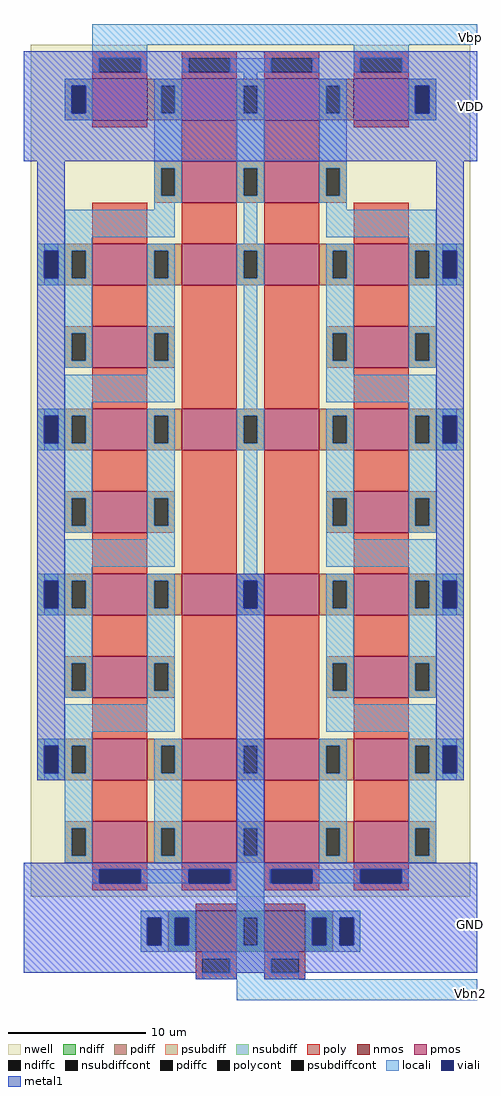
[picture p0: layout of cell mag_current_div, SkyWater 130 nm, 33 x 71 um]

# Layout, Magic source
magic
tech sky130A
<< nwell >>
rect -3300 750 -100 6950
<< nmos >>
rect -2100 350 -1800 650
rect -1600 350 -1300 650
<< pmos >>
rect -2850 6400 -2450 6700
rect -2200 6400 -1800 6700
rect -1600 6400 -1200 6700
rect -950 6400 -550 6700
rect -2200 5800 -1800 6100
rect -1600 5800 -1200 6100
rect -2850 5200 -2450 5500
rect -2200 5200 -1800 5500
rect -1600 5200 -1200 5500
rect -950 5200 -550 5500
rect -2850 4600 -2450 4900
rect -950 4600 -550 4900
rect -2850 4000 -2450 4300
rect -2200 4000 -1800 4300
rect -1600 4000 -1200 4300
rect -950 4000 -550 4300
rect -2850 3400 -2450 3700
rect -950 3400 -550 3700
rect -2850 2800 -2450 3100
rect -2200 2800 -1800 3100
rect -1600 2800 -1200 3100
rect -950 2800 -550 3100
rect -2850 2200 -2450 2500
rect -950 2200 -550 2500
rect -2850 1600 -2450 1900
rect -2200 1600 -1800 1900
rect -1600 1600 -1200 1900
rect -950 1600 -550 1900
rect -2850 1000 -2450 1300
rect -2200 1000 -1800 1300
rect -1600 1000 -1200 1300
rect -950 1000 -550 1300
<< ndiff >>
rect -2300 600 -2100 650
rect -2300 400 -2250 600
rect -2150 400 -2100 600
rect -2300 350 -2100 400
rect -1800 600 -1600 650
rect -1800 400 -1750 600
rect -1650 400 -1600 600
rect -1800 350 -1600 400
rect -1300 600 -1100 650
rect -1300 400 -1250 600
rect -1150 400 -1100 600
rect -1300 350 -1100 400
<< pdiff >>
rect -3050 6650 -2850 6700
rect -3050 6450 -3000 6650
rect -2900 6450 -2850 6650
rect -3050 6400 -2850 6450
rect -2450 6650 -2200 6700
rect -2450 6450 -2350 6650
rect -2250 6450 -2200 6650
rect -2450 6400 -2200 6450
rect -1800 6650 -1600 6700
rect -1800 6450 -1750 6650
rect -1650 6450 -1600 6650
rect -1800 6400 -1600 6450
rect -1200 6650 -950 6700
rect -1200 6450 -1150 6650
rect -1050 6450 -950 6650
rect -1200 6400 -950 6450
rect -550 6650 -350 6700
rect -550 6450 -500 6650
rect -400 6450 -350 6650
rect -550 6400 -350 6450
rect -2400 6050 -2200 6100
rect -2400 5850 -2350 6050
rect -2250 5850 -2200 6050
rect -2400 5800 -2200 5850
rect -1800 6050 -1600 6100
rect -1800 5850 -1750 6050
rect -1650 5850 -1600 6050
rect -1800 5800 -1600 5850
rect -1200 6050 -1000 6100
rect -1200 5850 -1150 6050
rect -1050 5850 -1000 6050
rect -1200 5800 -1000 5850
rect -3050 5450 -2850 5500
rect -3050 5250 -3000 5450
rect -2900 5250 -2850 5450
rect -3050 5200 -2850 5250
rect -2450 5450 -2200 5500
rect -2450 5250 -2400 5450
rect -2300 5250 -2200 5450
rect -2450 5200 -2200 5250
rect -1800 5450 -1600 5500
rect -1800 5250 -1750 5450
rect -1650 5250 -1600 5450
rect -1800 5200 -1600 5250
rect -1200 5450 -950 5500
rect -1200 5250 -1100 5450
rect -1000 5250 -950 5450
rect -1200 5200 -950 5250
rect -550 5450 -350 5500
rect -550 5250 -500 5450
rect -400 5250 -350 5450
rect -550 5200 -350 5250
rect -3050 4850 -2850 4900
rect -3050 4650 -3000 4850
rect -2900 4650 -2850 4850
rect -3050 4600 -2850 4650
rect -2450 4850 -2250 4900
rect -2450 4650 -2400 4850
rect -2300 4650 -2250 4850
rect -2450 4600 -2250 4650
rect -1150 4850 -950 4900
rect -1150 4650 -1100 4850
rect -1000 4650 -950 4850
rect -1150 4600 -950 4650
rect -550 4850 -350 4900
rect -550 4650 -500 4850
rect -400 4650 -350 4850
rect -550 4600 -350 4650
rect -3050 4250 -2850 4300
rect -3050 4050 -3000 4250
rect -2900 4050 -2850 4250
rect -3050 4000 -2850 4050
rect -2450 4250 -2200 4300
rect -2450 4050 -2400 4250
rect -2300 4050 -2200 4250
rect -2450 4000 -2200 4050
rect -1800 4250 -1600 4300
rect -1800 4050 -1750 4250
rect -1650 4050 -1600 4250
rect -1800 4000 -1600 4050
rect -1200 4250 -950 4300
rect -1200 4050 -1100 4250
rect -1000 4050 -950 4250
rect -1200 4000 -950 4050
rect -550 4250 -350 4300
rect -550 4050 -500 4250
rect -400 4050 -350 4250
rect -550 4000 -350 4050
rect -3050 3650 -2850 3700
rect -3050 3450 -3000 3650
rect -2900 3450 -2850 3650
rect -3050 3400 -2850 3450
rect -2450 3650 -2250 3700
rect -2450 3450 -2400 3650
rect -2300 3450 -2250 3650
rect -2450 3400 -2250 3450
rect -1150 3650 -950 3700
rect -1150 3450 -1100 3650
rect -1000 3450 -950 3650
rect -1150 3400 -950 3450
rect -550 3650 -350 3700
rect -550 3450 -500 3650
rect -400 3450 -350 3650
rect -550 3400 -350 3450
rect -3050 3050 -2850 3100
rect -3050 2850 -3000 3050
rect -2900 2850 -2850 3050
rect -3050 2800 -2850 2850
rect -2450 3050 -2200 3100
rect -2450 2850 -2400 3050
rect -2300 2850 -2200 3050
rect -2450 2800 -2200 2850
rect -1800 3050 -1600 3100
rect -1800 2850 -1750 3050
rect -1650 2850 -1600 3050
rect -1800 2800 -1600 2850
rect -1200 3050 -950 3100
rect -1200 2850 -1100 3050
rect -1000 2850 -950 3050
rect -1200 2800 -950 2850
rect -550 3050 -350 3100
rect -550 2850 -500 3050
rect -400 2850 -350 3050
rect -550 2800 -350 2850
rect -3050 2450 -2850 2500
rect -3050 2250 -3000 2450
rect -2900 2250 -2850 2450
rect -3050 2200 -2850 2250
rect -2450 2450 -2250 2500
rect -2450 2250 -2400 2450
rect -2300 2250 -2250 2450
rect -2450 2200 -2250 2250
rect -1150 2450 -950 2500
rect -1150 2250 -1100 2450
rect -1000 2250 -950 2450
rect -1150 2200 -950 2250
rect -550 2450 -350 2500
rect -550 2250 -500 2450
rect -400 2250 -350 2450
rect -550 2200 -350 2250
rect -3050 1850 -2850 1900
rect -3050 1650 -3000 1850
rect -2900 1650 -2850 1850
rect -3050 1600 -2850 1650
rect -2450 1850 -2200 1900
rect -2450 1650 -2350 1850
rect -2250 1650 -2200 1850
rect -2450 1600 -2200 1650
rect -1800 1850 -1600 1900
rect -1800 1650 -1750 1850
rect -1650 1650 -1600 1850
rect -1800 1600 -1600 1650
rect -1200 1850 -950 1900
rect -1200 1650 -1150 1850
rect -1050 1650 -950 1850
rect -1200 1600 -950 1650
rect -550 1850 -350 1900
rect -550 1650 -500 1850
rect -400 1650 -350 1850
rect -550 1600 -350 1650
rect -3050 1250 -2850 1300
rect -3050 1050 -3000 1250
rect -2900 1050 -2850 1250
rect -3050 1000 -2850 1050
rect -2450 1250 -2200 1300
rect -2450 1050 -2350 1250
rect -2250 1050 -2200 1250
rect -2450 1000 -2200 1050
rect -1800 1250 -1600 1300
rect -1800 1050 -1750 1250
rect -1650 1050 -1600 1250
rect -1800 1000 -1600 1050
rect -1200 1250 -950 1300
rect -1200 1050 -1150 1250
rect -1050 1050 -950 1250
rect -1200 1000 -950 1050
rect -550 1250 -350 1300
rect -550 1050 -500 1250
rect -400 1050 -350 1250
rect -550 1000 -350 1050
<< ndiffc >>
rect -2250 400 -2150 600
rect -1750 400 -1650 600
rect -1250 400 -1150 600
<< pdiffc >>
rect -3000 6450 -2900 6650
rect -2350 6450 -2250 6650
rect -1750 6450 -1650 6650
rect -1150 6450 -1050 6650
rect -500 6450 -400 6650
rect -2350 5850 -2250 6050
rect -1750 5850 -1650 6050
rect -1150 5850 -1050 6050
rect -3000 5250 -2900 5450
rect -2400 5250 -2300 5450
rect -1750 5250 -1650 5450
rect -1100 5250 -1000 5450
rect -500 5250 -400 5450
rect -3000 4650 -2900 4850
rect -2400 4650 -2300 4850
rect -1100 4650 -1000 4850
rect -500 4650 -400 4850
rect -3000 4050 -2900 4250
rect -2400 4050 -2300 4250
rect -1750 4050 -1650 4250
rect -1100 4050 -1000 4250
rect -500 4050 -400 4250
rect -3000 3450 -2900 3650
rect -2400 3450 -2300 3650
rect -1100 3450 -1000 3650
rect -500 3450 -400 3650
rect -3000 2850 -2900 3050
rect -2400 2850 -2300 3050
rect -1750 2850 -1650 3050
rect -1100 2850 -1000 3050
rect -500 2850 -400 3050
rect -3000 2250 -2900 2450
rect -2400 2250 -2300 2450
rect -1100 2250 -1000 2450
rect -500 2250 -400 2450
rect -3000 1650 -2900 1850
rect -2350 1650 -2250 1850
rect -1750 1650 -1650 1850
rect -1150 1650 -1050 1850
rect -500 1650 -400 1850
rect -3000 1050 -2900 1250
rect -2350 1050 -2250 1250
rect -1750 1050 -1650 1250
rect -1150 1050 -1050 1250
rect -500 1050 -400 1250
<< psubdiff >>
rect -2500 600 -2300 650
rect -2500 400 -2450 600
rect -2350 400 -2300 600
rect -2500 350 -2300 400
rect -1100 600 -900 650
rect -1100 400 -1050 600
rect -950 400 -900 600
rect -1100 350 -900 400
<< nsubdiff >>
rect -3250 5450 -3050 5500
rect -3250 5250 -3200 5450
rect -3100 5250 -3050 5450
rect -3250 5200 -3050 5250
rect -350 5450 -150 5500
rect -350 5250 -300 5450
rect -200 5250 -150 5450
rect -350 5200 -150 5250
rect -3250 4250 -3050 4300
rect -3250 4050 -3200 4250
rect -3100 4050 -3050 4250
rect -3250 4000 -3050 4050
rect -350 4250 -150 4300
rect -350 4050 -300 4250
rect -200 4050 -150 4250
rect -350 4000 -150 4050
rect -3250 3050 -3050 3100
rect -3250 2850 -3200 3050
rect -3100 2850 -3050 3050
rect -3250 2800 -3050 2850
rect -350 3050 -150 3100
rect -350 2850 -300 3050
rect -200 2850 -150 3050
rect -350 2800 -150 2850
rect -3250 1850 -3050 1900
rect -3250 1650 -3200 1850
rect -3100 1650 -3050 1850
rect -3250 1600 -3050 1650
rect -350 1850 -150 1900
rect -350 1650 -300 1850
rect -200 1650 -150 1850
rect -350 1600 -150 1650
<< psubdiffcont >>
rect -2450 400 -2350 600
rect -1050 400 -950 600
<< nsubdiffcont >>
rect -3200 5250 -3100 5450
rect -300 5250 -200 5450
rect -3200 4050 -3100 4250
rect -300 4050 -200 4250
rect -3200 2850 -3100 3050
rect -300 2850 -200 3050
rect -3200 1650 -3100 1850
rect -300 1650 -200 1850
<< poly >>
rect -2850 6850 -2450 6900
rect -2850 6750 -2800 6850
rect -2500 6750 -2450 6850
rect -2850 6700 -2450 6750
rect -2200 6850 -1800 6900
rect -2200 6750 -2150 6850
rect -1850 6750 -1800 6850
rect -2200 6700 -1800 6750
rect -1600 6850 -1200 6900
rect -1600 6750 -1550 6850
rect -1250 6750 -1200 6850
rect -1600 6700 -1200 6750
rect -950 6850 -550 6900
rect -950 6750 -900 6850
rect -600 6750 -550 6850
rect -950 6700 -550 6750
rect -2850 6350 -2450 6400
rect -2200 6100 -1800 6400
rect -1600 6100 -1200 6400
rect -950 6350 -550 6400
rect -2850 5500 -2450 5800
rect -2200 5500 -1800 5800
rect -1600 5500 -1200 5800
rect -950 5500 -550 5800
rect -2850 4900 -2450 5200
rect -2850 4300 -2450 4600
rect -2200 4300 -1800 5200
rect -1600 4300 -1200 5200
rect -950 4900 -550 5200
rect -950 4300 -550 4600
rect -2850 3700 -2450 4000
rect -2850 3100 -2450 3400
rect -2200 3100 -1800 4000
rect -1600 3100 -1200 4000
rect -950 3700 -550 4000
rect -950 3100 -550 3400
rect -2850 2500 -2450 2800
rect -2850 1900 -2450 2200
rect -2200 1900 -1800 2800
rect -1600 1900 -1200 2800
rect -950 2500 -550 2800
rect -950 1900 -550 2200
rect -2850 1300 -2450 1600
rect -2200 1300 -1800 1600
rect -1600 1300 -1200 1600
rect -950 1300 -550 1600
rect -2850 950 -2450 1000
rect -2850 850 -2800 950
rect -2500 850 -2450 950
rect -2850 800 -2450 850
rect -2200 950 -1800 1000
rect -2200 850 -2150 950
rect -1850 850 -1800 950
rect -2200 800 -1800 850
rect -1600 950 -1200 1000
rect -1600 850 -1550 950
rect -1250 850 -1200 950
rect -1600 800 -1200 850
rect -950 950 -550 1000
rect -950 850 -900 950
rect -600 850 -550 950
rect -950 800 -550 850
rect -2100 650 -1800 700
rect -1600 650 -1300 700
rect -2100 300 -1800 350
rect -2100 200 -2050 300
rect -1850 200 -1800 300
rect -2100 150 -1800 200
rect -1600 300 -1300 350
rect -1600 200 -1550 300
rect -1350 200 -1300 300
rect -1600 150 -1300 200
<< polycont >>
rect -2800 6750 -2500 6850
rect -2150 6750 -1850 6850
rect -1550 6750 -1250 6850
rect -900 6750 -600 6850
rect -2800 850 -2500 950
rect -2150 850 -1850 950
rect -1550 850 -1250 950
rect -900 850 -600 950
rect -2050 200 -1850 300
rect -1550 200 -1350 300
<< locali >>
rect -2850 6950 -50 7100
rect -2850 6850 -2450 6950
rect -950 6850 -550 6950
rect -2850 6750 -2800 6850
rect -2500 6750 -2450 6850
rect -2200 6750 -2150 6850
rect -1850 6750 -1550 6850
rect -1250 6750 -1200 6850
rect -950 6750 -900 6850
rect -600 6750 -550 6850
rect -1750 6700 -1650 6750
rect -3050 6650 -2850 6700
rect -3050 6450 -3000 6650
rect -2900 6450 -2850 6650
rect -3050 6400 -2850 6450
rect -2400 6650 -2200 6700
rect -2400 6450 -2350 6650
rect -2250 6450 -2200 6650
rect -2400 6050 -2200 6450
rect -2400 5850 -2350 6050
rect -2250 5850 -2200 6050
rect -2400 5800 -2200 5850
rect -1800 6650 -1600 6700
rect -1800 6450 -1750 6650
rect -1650 6450 -1600 6650
rect -1800 6050 -1600 6450
rect -1800 5850 -1750 6050
rect -1650 5850 -1600 6050
rect -1800 5800 -1600 5850
rect -1200 6650 -1000 6700
rect -1200 6450 -1150 6650
rect -1050 6450 -1000 6650
rect -1200 6050 -1000 6450
rect -550 6650 -350 6700
rect -550 6450 -500 6650
rect -400 6450 -350 6650
rect -550 6400 -350 6450
rect -1200 5850 -1150 6050
rect -1050 5850 -1000 6050
rect -1200 5800 -1000 5850
rect -2400 5750 -2250 5800
rect -3050 5550 -2250 5750
rect -3200 5450 -3100 5500
rect -3200 5200 -3100 5250
rect -3050 5450 -2850 5550
rect -1750 5500 -1650 5800
rect -1150 5750 -1000 5800
rect -1150 5550 -350 5750
rect -3050 5250 -3000 5450
rect -2900 5250 -2850 5450
rect -3050 4850 -2850 5250
rect -3050 4650 -3000 4850
rect -2900 4650 -2850 4850
rect -3050 4600 -2850 4650
rect -2450 5450 -2250 5500
rect -2450 5250 -2400 5450
rect -2300 5250 -2250 5450
rect -2450 4850 -2250 5250
rect -1800 5450 -1600 5500
rect -1800 5250 -1750 5450
rect -1650 5250 -1600 5450
rect -1800 5200 -1600 5250
rect -1150 5450 -950 5500
rect -1150 5250 -1100 5450
rect -1000 5250 -950 5450
rect -2450 4650 -2400 4850
rect -2300 4650 -2250 4850
rect -2450 4550 -2250 4650
rect -3050 4350 -2250 4550
rect -3200 4250 -3100 4300
rect -3200 4000 -3100 4050
rect -3050 4250 -2850 4350
rect -1750 4300 -1650 5200
rect -1150 4850 -950 5250
rect -1150 4650 -1100 4850
rect -1000 4650 -950 4850
rect -1150 4550 -950 4650
rect -550 5450 -350 5550
rect -550 5250 -500 5450
rect -400 5250 -350 5450
rect -550 4850 -350 5250
rect -300 5450 -200 5500
rect -300 5200 -200 5250
rect -550 4650 -500 4850
rect -400 4650 -350 4850
rect -550 4600 -350 4650
rect -1150 4350 -350 4550
rect -3050 4050 -3000 4250
rect -2900 4050 -2850 4250
rect -3050 3650 -2850 4050
rect -3050 3450 -3000 3650
rect -2900 3450 -2850 3650
rect -3050 3400 -2850 3450
rect -2450 4250 -2250 4300
rect -2450 4050 -2400 4250
rect -2300 4050 -2250 4250
rect -2450 3650 -2250 4050
rect -1800 4250 -1600 4300
rect -1800 4050 -1750 4250
rect -1650 4050 -1600 4250
rect -1800 4000 -1600 4050
rect -1150 4250 -950 4300
rect -1150 4050 -1100 4250
rect -1000 4050 -950 4250
rect -2450 3450 -2400 3650
rect -2300 3450 -2250 3650
rect -2450 3350 -2250 3450
rect -3050 3150 -2250 3350
rect -3200 3050 -3100 3100
rect -3200 2800 -3100 2850
rect -3050 3050 -2850 3150
rect -1750 3100 -1650 4000
rect -1150 3650 -950 4050
rect -1150 3450 -1100 3650
rect -1000 3450 -950 3650
rect -1150 3350 -950 3450
rect -550 4250 -350 4350
rect -550 4050 -500 4250
rect -400 4050 -350 4250
rect -550 3650 -350 4050
rect -300 4250 -200 4300
rect -300 4000 -200 4050
rect -550 3450 -500 3650
rect -400 3450 -350 3650
rect -550 3400 -350 3450
rect -1150 3150 -350 3350
rect -3050 2850 -3000 3050
rect -2900 2850 -2850 3050
rect -3050 2450 -2850 2850
rect -3050 2250 -3000 2450
rect -2900 2250 -2850 2450
rect -3050 2200 -2850 2250
rect -2450 3050 -2250 3100
rect -2450 2850 -2400 3050
rect -2300 2850 -2250 3050
rect -2450 2450 -2250 2850
rect -1800 3050 -1600 3100
rect -1800 2850 -1750 3050
rect -1650 2850 -1600 3050
rect -1800 2800 -1600 2850
rect -1150 3050 -950 3100
rect -1150 2850 -1100 3050
rect -1000 2850 -950 3050
rect -2450 2250 -2400 2450
rect -2300 2250 -2250 2450
rect -2450 2150 -2250 2250
rect -3050 1950 -2250 2150
rect -1150 2450 -950 2850
rect -1150 2250 -1100 2450
rect -1000 2250 -950 2450
rect -1150 2150 -950 2250
rect -550 3050 -350 3150
rect -550 2850 -500 3050
rect -400 2850 -350 3050
rect -550 2450 -350 2850
rect -300 3050 -200 3100
rect -300 2800 -200 2850
rect -550 2250 -500 2450
rect -400 2250 -350 2450
rect -550 2200 -350 2250
rect -1150 1950 -350 2150
rect -3200 1850 -3100 1900
rect -3200 1600 -3100 1650
rect -3050 1850 -2850 1950
rect -3050 1650 -3000 1850
rect -2900 1650 -2850 1850
rect -3050 1250 -2850 1650
rect -3050 1050 -3000 1250
rect -2900 1050 -2850 1250
rect -3050 1000 -2850 1050
rect -2400 1850 -2200 1900
rect -2400 1650 -2350 1850
rect -2250 1650 -2200 1850
rect -2400 1250 -2200 1650
rect -2400 1050 -2350 1250
rect -2250 1050 -2200 1250
rect -2400 1000 -2200 1050
rect -1800 1850 -1600 1900
rect -1800 1650 -1750 1850
rect -1650 1650 -1600 1850
rect -1800 1250 -1600 1650
rect -1800 1050 -1750 1250
rect -1650 1050 -1600 1250
rect -2850 850 -2800 950
rect -2500 850 -2150 950
rect -1850 850 -1840 950
rect -2500 600 -2100 650
rect -2500 400 -2450 600
rect -2350 400 -2250 600
rect -2150 400 -2100 600
rect -2500 350 -2100 400
rect -1800 600 -1600 1050
rect -1200 1850 -1000 1900
rect -1200 1650 -1150 1850
rect -1050 1650 -1000 1850
rect -1200 1250 -1000 1650
rect -1200 1050 -1150 1250
rect -1050 1050 -1000 1250
rect -1200 1000 -1000 1050
rect -550 1850 -350 1950
rect -550 1650 -500 1850
rect -400 1650 -350 1850
rect -550 1250 -350 1650
rect -300 1850 -200 1900
rect -300 1600 -200 1650
rect -550 1050 -500 1250
rect -400 1050 -350 1250
rect -550 1000 -350 1050
rect -1560 850 -1550 950
rect -1250 850 -900 950
rect -600 850 -550 950
rect -1800 400 -1750 600
rect -1650 400 -1600 600
rect -1800 350 -1600 400
rect -1300 600 -900 650
rect -1300 400 -1250 600
rect -1150 400 -1050 600
rect -950 400 -900 600
rect -1300 350 -900 400
rect -2050 300 -1350 350
rect -1850 200 -1550 300
rect -2050 150 -1350 200
rect -1800 0 -50 150
<< viali >>
rect -3000 6450 -2900 6650
rect -500 6450 -400 6650
rect -3200 5250 -3100 5450
rect -3200 4050 -3100 4250
rect -300 5250 -200 5450
rect -3200 2850 -3100 3050
rect -300 4050 -200 4250
rect -1750 2850 -1650 3050
rect -300 2850 -200 3050
rect -3200 1650 -3100 1850
rect -2800 850 -2500 950
rect -2150 850 -1850 950
rect -2450 400 -2350 600
rect -2250 400 -2150 600
rect -300 1650 -200 1850
rect -1550 850 -1250 950
rect -900 850 -600 950
rect -1250 400 -1150 600
rect -1050 400 -950 600
<< metal1 >>
rect -3350 6650 -50 6900
rect -3350 6450 -3000 6650
rect -2900 6450 -500 6650
rect -400 6450 -50 6650
rect -3350 6100 -50 6450
rect -3250 5450 -3050 6100
rect -3250 5250 -3200 5450
rect -3100 5250 -3050 5450
rect -3250 4250 -3050 5250
rect -3250 4050 -3200 4250
rect -3100 4050 -3050 4250
rect -3250 3050 -3050 4050
rect -350 5450 -150 6100
rect -350 5250 -300 5450
rect -200 5250 -150 5450
rect -350 4250 -150 5250
rect -350 4050 -300 4250
rect -200 4050 -150 4250
rect -3250 2850 -3200 3050
rect -3100 2850 -3050 3050
rect -3250 1850 -3050 2850
rect -3250 1650 -3200 1850
rect -3100 1650 -3050 1850
rect -3250 1600 -3050 1650
rect -1800 3050 -1600 3100
rect -1800 2850 -1750 3050
rect -1650 2850 -1600 3050
rect -1800 1000 -1600 2850
rect -350 3050 -150 4050
rect -350 2850 -300 3050
rect -200 2850 -150 3050
rect -350 1850 -150 2850
rect -350 1650 -300 1850
rect -200 1650 -150 1850
rect -350 1600 -150 1650
rect -3350 950 -50 1000
rect -3350 850 -2800 950
rect -2500 850 -2150 950
rect -1850 850 -1550 950
rect -1250 850 -900 950
rect -600 850 -50 950
rect -3350 600 -50 850
rect -3350 400 -2450 600
rect -2350 400 -2250 600
rect -2150 400 -1250 600
rect -1150 400 -1050 600
rect -950 400 -50 600
rect -3350 200 -50 400
rect -2100 150 -1800 200
rect -1600 150 -1300 200
<< labels >>
rlabel metal1 -100 550 -100 550 3 GND
port 4 e
rlabel locali -100 50 -100 50 3 Vbn2
port 3 e
rlabel metal1 -100 6500 -100 6500 3 VDD
port 2 e
rlabel locali -100 7000 -100 7000 3 Vbp
port 1 e
<< end >>
